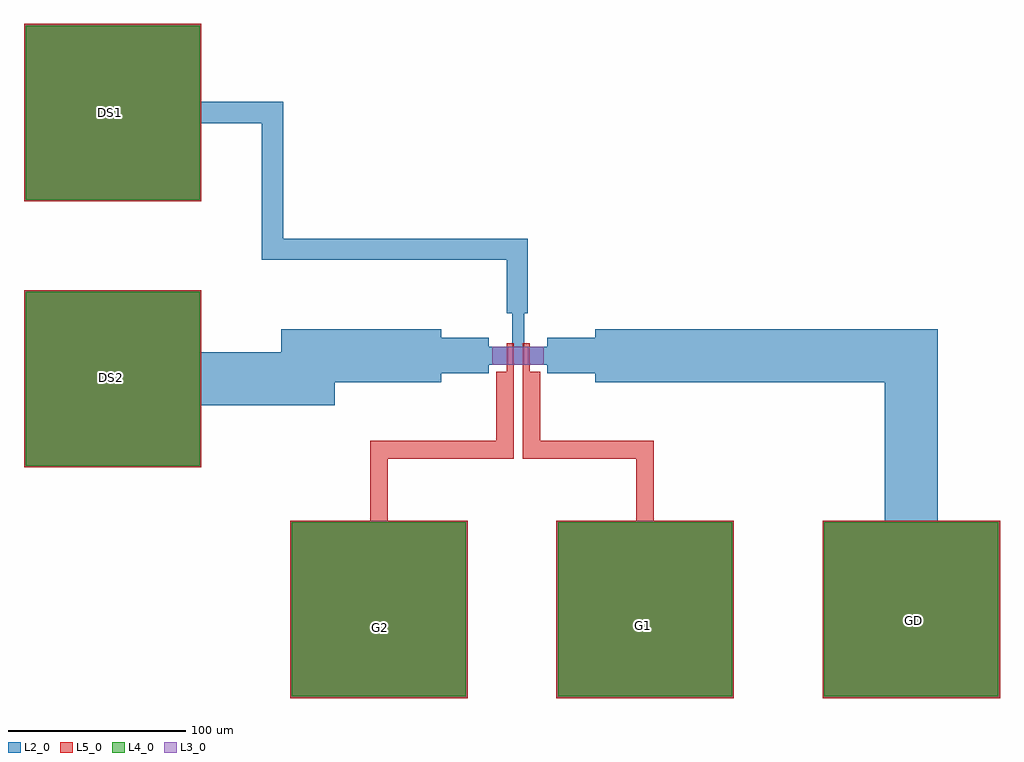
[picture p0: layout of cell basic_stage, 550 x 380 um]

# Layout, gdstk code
import gdstk
lib = gdstk.Library(unit=1e-6, precision=5e-10)
def R(c, l, rs):  # rectangles x0, y0, x1, y1
    for r in rs: c.add(gdstk.rectangle(r[:2], r[2:], *l))
def P(c, l, *ps):  # polygons
    for p in ps: c.add(gdstk.Polygon(p, *l))
L2_0 = (2, 0)
L3_0 = (3, 0)
L4_0 = (4, 0)
L5_0 = (5, 0)

pad_100 = lib.new_cell('PAD_100')
R(pad_100, L2_0, [(0,0,100,100)])
R(pad_100, L4_0, [(1,1,99,99)])
R(pad_100, L5_0, [(0,0,100,100)])

basic_stage = lib.new_cell('basic_stage')
R(basic_stage, L2_0, [(112,18,123,28), (125,18,132,28), (134,18,145,28), (125,22,132,50)])
P(basic_stage, L2_0, [(85,38),(-5,38),(-5,25),(-80,25),(-80,-5),(25,-5),(25,8),(85,8)])
R(basic_stage, L3_0, [(114,18,134,28), (123,18,143,28)])
R(basic_stage, L5_0, [(116,-1,126,14), (131,-1,141,14), (122,14,126,30), (131,14,135,30)])
basic_stage.add(gdstk.FlexPath([(128,47),(128,83),(-10,83),(-10,160),(-70,160)], 12, ends="flush", simple_path=True, layer=2, datatype=0))  # L2_0
basic_stage.add(gdstk.FlexPath([(172,23),(350,23),(350,-100)], 30, ends="flush", simple_path=True, layer=2, datatype=0))  # L2_0
basic_stage.add(gdstk.FlexPath([(85,23),(112,23)], 20, ends="flush", simple_path=True, layer=2, datatype=0))  # L2_0
basic_stage.add(gdstk.FlexPath([(145,23),(172,23)], 20, ends="flush", simple_path=True, layer=2, datatype=0))  # L2_0
basic_stage.add(gdstk.FlexPath([(121,0),(121,-30),(50,-30),(50,-85)], 10, ends="flush", simple_path=True, layer=5, datatype=0))  # L5_0
basic_stage.add(gdstk.FlexPath([(136,0),(136,-30),(200,-30),(200,-86)], 10, ends="flush", simple_path=True, layer=5, datatype=0))  # L5_0
basic_stage.add(gdstk.Reference(pad_100, (-150,110)))
basic_stage.add(gdstk.Reference(pad_100, (150,-170)))
basic_stage.add(gdstk.Reference(pad_100, (300,-170)))
basic_stage.add(gdstk.Reference(pad_100, (-150,-40)))
basic_stage.add(gdstk.Reference(pad_100, (0,-170)))
basic_stage.add(gdstk.Label('G2', (51,-130), layer=5, texttype=251))
basic_stage.add(gdstk.Label('G1', (199,-129), layer=5, texttype=251))
basic_stage.add(gdstk.Label('DS2', (-100.7,10.5), layer=5, texttype=251))
basic_stage.add(gdstk.Label('DS1', (-101,160), layer=5, texttype=251))
basic_stage.add(gdstk.Label('GD', (351,-126), layer=5, texttype=251))

lib.write_gds('basic_stage.gds')
